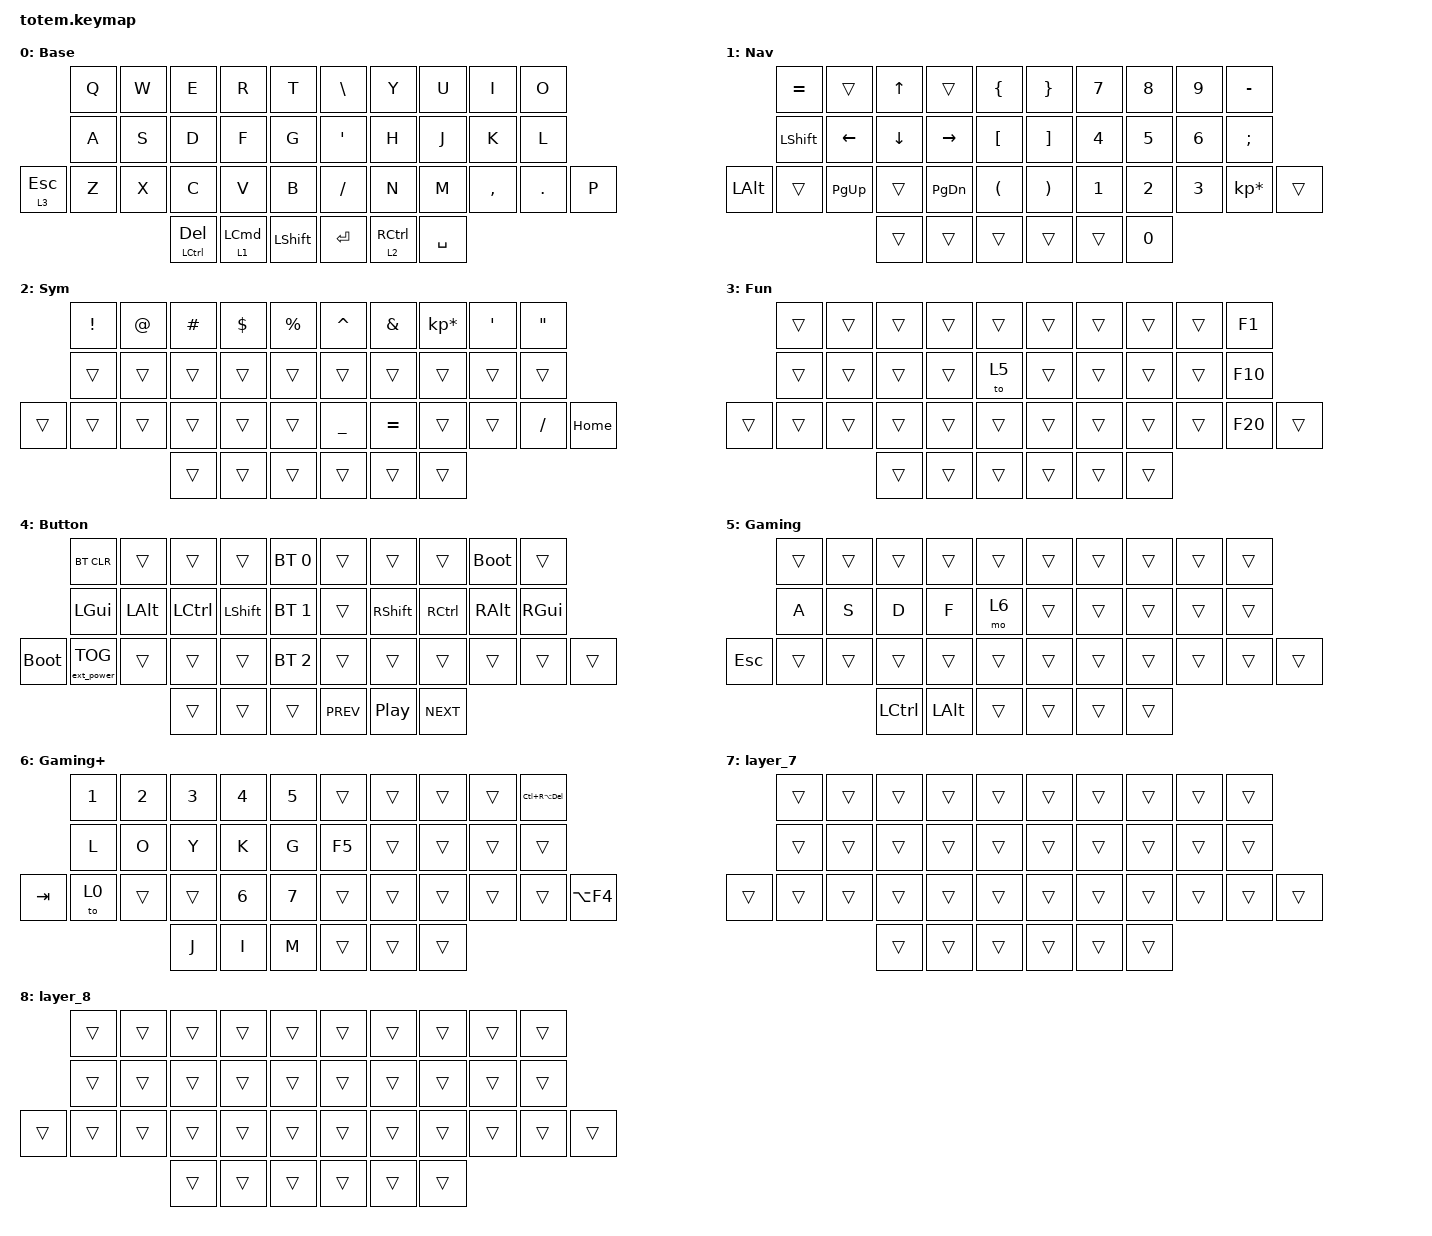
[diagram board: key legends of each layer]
//
//                                                        ▀▀▀▀▀     ▀▀▀▀▀          ▀▀█▀▀
//                                                        ▄▀▀▀▄  ▄  ▄▀▀▀▄  ▄  ▄▀▀▀▄  █  ▄▀▀▀▄
//                                                        █   █  █  █   █  █  █   █  █  █   █
//                                                         ▀▀▀   █   ▀▀▀   █   ▀▀▀   ▀   ▀▀▀
//                                                               █      ▄▄▄█▄▄▄    █   █  
//                                                               ▀      █  █  █     █▄█
//                                                             ▀▀▀▀▀    █  █  █      ▀
//                                                                      ▀  ▀  ▀
//
// ▄▄▄▄▄▄▄▄▄▄▄▄▄▄▄▄▄▄▄▄▄▄▄▄▄▄▄▄▄▄▄▄▄▄▄▄▄▄▄▄▄▄▄▄▄▄▄▄▄▄▄▄▄▄▄▄▄▄▄▄▄▄▄▄▄▄▄▄▄▄▄▄▄▄▄▄▄▄▄▄▄▄▄▄▄▄▄▄▄▄▄▄▄▄▄▄▄▄▄▄▄▄▄▄▄▄▄▄▄▄▄▄▄▄▄▄▄▄▄▄▄▄▄▄▄▄▄▄▄▄▄▄▄▄▄▄▄▄▄▄▄▄▄▄▄▄▄▄▄

#include <behaviors.dtsi>
#include <dt-bindings/zmk/bt.h>
#include <dt-bindings/zmk/ext_power.h>
#include <dt-bindings/zmk/keys.h>

#define Base        0
#define Media       1
#define Nav         2
#define Mouse       3
#define Sym         4
#define Num         5
#define Fun         6
#define Button      7
#define Game        8
#define Gameplus    9

&mt {
    quick-tap-ms = <100>;
    global-quick-tap;
    flavor = "tap-preferred";
    tapping-term-ms = <170>;
};

&lt {
    tapping-term-ms = <240>;
    flavor = "balanced";
    quick-tap-ms = <150>;
};

/ {
    behaviors {
        hm: homerow_mods {
            compatible = "zmk,behavior-hold-tap";
            label = "HOMEROW_MODS";
            #binding-cells = <2>;
            flavor = "tap-preferred";
            tapping-term-ms = <200>;
            quick-tap-ms = <125>;
            global-quick-tap;
            bindings = <&kp>, <&kp>;
        };
    };

    combos { compatible = "zmk,combos"; };

    keymap {
        compatible = "zmk,keymap";

        Base {
            label = "Base";
            bindings = <
              &kp Q  &kp W  &kp E          &kp R               &kp T             &kp BACKSLASH     &kp Y        &kp U      &kp I      &kp O
              &kp A  &kp S  &kp D          &kp F               &kp G             &kp SINGLE_QUOTE  &kp H        &kp J      &kp K      &kp L
&lt 3 ESCAPE  &kp Z  &kp X  &kp C          &kp V               &kp B             &kp SLASH         &kp N        &kp M      &kp COMMA  &kp PERIOD  &kp P
                            &mt LCTRL DEL  &lt 1 LEFT_COMMAND  &kp LEFT_SHIFT    &kp ENTER         &lt 2 RCTRL  &kp SPACE
            >;
        };

        Nav {
            label = "Nav";
            bindings = <
              &kp EQUAL       &trans       &kp UP_ARROW  &trans     &kp LBRC    &kp RBRC  &kp NUMBER_7  &kp NUMBER_8  &kp NUMBER_9  &kp MINUS
              &kp LEFT_SHIFT  &kp LEFT     &kp DOWN      &kp RIGHT  &kp LBKT    &kp RBKT  &kp NUMBER_4  &kp NUMBER_5  &kp NUMBER_6  &kp SEMICOLON
&kp LEFT_ALT  &trans          &kp PAGE_UP  &trans        &kp PG_DN  &kp LPAR    &kp RPAR  &kp NUMBER_1  &kp NUMBER_2  &kp NUMBER_3  &kp KP_MULTIPLY  &trans
                                           &trans        &trans     &trans      &trans    &trans        &kp NUMBER_0
            >;
        };

        Sym {
            label = "Sym";
            bindings = <
        &kp EXCL  &kp AT  &kp HASH  &kp DOLLAR  &kp PERCENT    &kp CARET  &kp AMPERSAND  &kp KP_ASTERISK  &kp SQT  &kp DQT
        &trans    &trans  &trans    &trans      &trans         &trans     &trans         &trans           &trans   &trans
&trans  &trans    &trans  &trans    &trans      &trans         &kp UNDER  &kp EQUAL      &trans           &trans   &kp SLASH  &kp HOME
                          &trans    &trans      &trans         &trans     &trans         &trans
            >;
        };

        Fun {
            label = "Fun";
            bindings = <
        &trans  &trans  &trans  &trans  &trans    &trans  &trans  &trans  &trans  &kp F1
        &trans  &trans  &trans  &trans  &to 5     &trans  &trans  &trans  &trans  &kp F10
&trans  &trans  &trans  &trans  &trans  &trans    &trans  &trans  &trans  &trans  &kp F20  &trans
                        &trans  &trans  &trans    &trans  &trans  &trans
            >;
        };

        Button {
            label = "Button";
            bindings = <
             &bt BT_CLR         &trans    &trans     &trans      &bt BT_SEL 0    &trans      &trans            &trans      &bootloader  &trans
             &kp LGUI           &kp LALT  &kp LCTRL  &kp LSHIFT  &bt BT_SEL 1    &trans      &kp RSHIFT        &kp RCTRL   &kp RALT     &kp RGUI
&bootloader  &ext_power EP_TOG  &trans    &trans     &trans      &bt BT_SEL 2    &trans      &trans            &trans      &trans       &trans    &trans
                                          &trans     &trans      &trans          &kp C_PREV  &kp C_PLAY_PAUSE  &kp C_NEXT
            >;
        };

        Gaming {
            bindings = <
            &trans  &trans  &trans     &trans        &trans    &trans  &trans  &trans  &trans  &trans
            &kp A   &kp S   &kp D      &kp F         &mo 6     &trans  &trans  &trans  &trans  &trans
&kp ESCAPE  &trans  &trans  &trans     &trans        &trans    &trans  &trans  &trans  &trans  &trans  &trans
                            &kp LCTRL  &kp LEFT_ALT  &trans    &trans  &trans  &trans
            >;

            label = "Gaming";
        };

        Gaming+ {
            bindings = <
         &kp NUMBER_1  &kp NUMBER_2  &kp NUMBER_3  &kp NUMBER_4  &kp NUMBER_5    &trans  &trans  &trans  &trans  &kp LC(RA(DEL))
         &kp L         &kp O         &kp Y         &kp K         &kp G           &kp F5  &trans  &trans  &trans  &trans
&kp TAB  &to 0         &trans        &trans        &kp NUMBER_6  &kp NUMBER_7    &trans  &trans  &trans  &trans  &trans           &kp LA(F4)
                                     &kp J         &kp I         &kp M           &trans  &trans  &trans
            >;

            label = "Gaming+";
        };

        layer_7 {
            bindings = <
        &trans  &trans  &trans  &trans  &trans    &trans  &trans  &trans  &trans  &trans
        &trans  &trans  &trans  &trans  &trans    &trans  &trans  &trans  &trans  &trans
&trans  &trans  &trans  &trans  &trans  &trans    &trans  &trans  &trans  &trans  &trans  &trans
                        &trans  &trans  &trans    &trans  &trans  &trans
            >;
        };

        layer_8 {
            bindings = <
        &trans  &trans  &trans  &trans  &trans    &trans  &trans  &trans  &trans  &trans
        &trans  &trans  &trans  &trans  &trans    &trans  &trans  &trans  &trans  &trans
&trans  &trans  &trans  &trans  &trans  &trans    &trans  &trans  &trans  &trans  &trans  &trans
                        &trans  &trans  &trans    &trans  &trans  &trans
            >;
        };
    };
};
